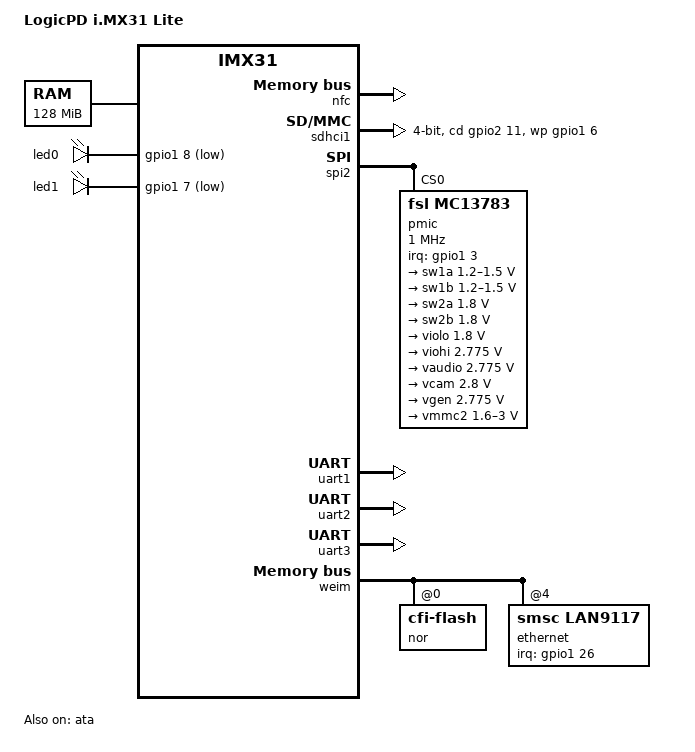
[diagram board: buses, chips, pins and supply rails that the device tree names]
// SPDX-License-Identifier: GPL-2.0+
//
// Copyright (C) 2016-2018 Vladimir Zapolskiy <vz@mleia.com>

/dts-v1/;

#include "imx31.dtsi"

#include <dt-bindings/gpio/gpio.h>
#include <dt-bindings/interrupt-controller/irq.h>

/ {
	model = "LogicPD i.MX31 Lite";
	compatible = "logicpd,imx31-lite", "fsl,imx31";

	chosen {
		stdout-path = &uart1;
	};

	memory@80000000 {
		device_type = "memory";
		reg = <0x80000000 0x8000000>;
	};

	leds {
		compatible = "gpio-leds";

		led0 {
			gpios = <&gpio1 8 GPIO_ACTIVE_LOW>;
		};

		led1 {
			gpios = <&gpio1 7 GPIO_ACTIVE_LOW>;
		};
	};
};

&ata {
	status = "okay";
};

&nfc {
	nand-bus-width = <8>;
	nand-ecc-mode = "hw";
	nand-on-flash-bbt;
	status = "okay";
};

&sdhci1 {
	bus-width = <4>;
	cd-gpios = <&gpio2 11 GPIO_ACTIVE_HIGH>;
	wp-gpios = <&gpio1 6 GPIO_ACTIVE_HIGH>;
	status = "okay";
};

&spi2 {
	status = "okay";

	pmic@0 {
		compatible = "fsl,mc13783";
		reg = <0>;
		spi-cs-high;
		spi-max-frequency = <1000000>;
		interrupt-parent = <&gpio1>;
		interrupts = <3 IRQ_TYPE_EDGE_RISING>;

		fsl,mc13xxx-uses-adc;
		fsl,mc13xxx-uses-rtc;

		regulators {
			sw1a {		/* QVCC */
				regulator-min-microvolt = <1200000>;
				regulator-max-microvolt = <1500000>;
				regulator-always-on;
				regulator-boot-on;
			};

			sw1b {		/* QVCC */
				regulator-min-microvolt = <1200000>;
				regulator-max-microvolt = <1500000>;
				regulator-always-on;
				regulator-boot-on;
			};

			sw2a {		/* 1.8V_DDR, NVCC2, NVCC21 and NVCC22 */
				regulator-min-microvolt = <1800000>;
				regulator-max-microvolt = <1800000>;
				regulator-always-on;
				regulator-boot-on;
			};

			sw2b {		/* NVCC10 */
				regulator-min-microvolt = <1800000>;
				regulator-max-microvolt = <1800000>;
				regulator-always-on;
				regulator-boot-on;
			};

			violo {		/* NVCC1 and NVCC7 */
				regulator-min-microvolt = <1800000>;
				regulator-max-microvolt = <1800000>;
				regulator-always-on;
				regulator-boot-on;
			};

			viohi {		/* VIOHI */
				regulator-min-microvolt = <2775000>;
				regulator-max-microvolt = <2775000>;
				regulator-always-on;
				regulator-boot-on;
			};

			vaudio {	/* VAUDIO */
				regulator-min-microvolt = <2775000>;
				regulator-max-microvolt = <2775000>;
			};

			vcam {		/* NVCC4 */
				regulator-min-microvolt = <2800000>;
				regulator-max-microvolt = <2800000>;
			};

			vgen {		/* NVCC5 / NVCC8 and NVCC6 / NVCC9 */
				regulator-min-microvolt = <2775000>;
				regulator-max-microvolt = <2775000>;
				regulator-always-on;
				regulator-boot-on;
			};

			vmmc2 {		/* NVCC3 */
				regulator-min-microvolt = <1600000>;
				regulator-max-microvolt = <3000000>;
				regulator-always-on;
				regulator-boot-on;
			};
		};
	};
};

&uart1 {
	uart-has-rtscts;
	status = "okay";
};

/* Routed to the extension board */
&uart2 {
	uart-has-rtscts;
	status = "okay";
};

/* Routed to the extension board */
&uart3 {
	uart-has-rtscts;
	status = "okay";
};

&weim {
	status = "okay";

	nor@0,0 {
		compatible = "cfi-flash";
		reg = <0 0x0 0x200000>;
		bank-width = <2>;
		linux,mtd-name = "physmap-flash.0";
		fsl,weim-cs-timing = <0x0000cf03 0xa0330d01 0x00220800>;
	};

	ethernet@4,0 {
		compatible = "smsc,lan9117", "smsc,lan9115";
		reg = <4 0x0 0x100>;
		interrupt-parent = <&gpio1>;
		interrupts = <26 IRQ_TYPE_EDGE_FALLING>;
		phy-mode = "mii";
		reg-io-width = <2>;
		smsc,irq-push-pull;
		fsl,weim-cs-timing = <0x00008701 0x04000541 0x00010000>;
	};
};
